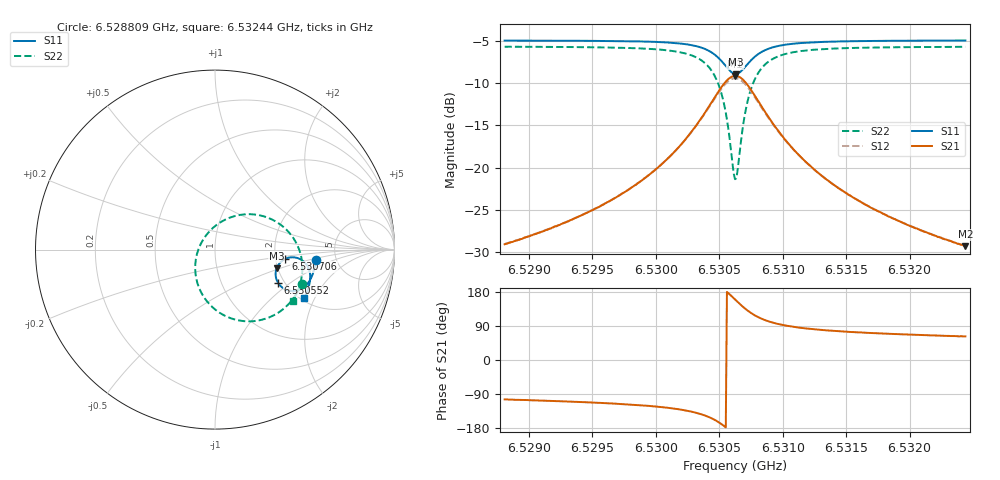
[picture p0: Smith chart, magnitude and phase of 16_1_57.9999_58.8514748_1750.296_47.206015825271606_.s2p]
#  HZ  S  RI  R  50.00
! Rohde & Schwarz Vector Network Analyzer
! Rohde-Schwarz,ZNB20-2Port,1311601062101988,3.16
! Created: UTC 3/21/2024, 12:50:58 AM
! freq[Hz]  re:S11  im:S11  re:S21  im:S21  re:S12  im:S12  re:S22  im:S22
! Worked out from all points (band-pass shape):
!   401 points, 6.528809 GHz to 6.53244 GHz, reference 50 ohm
!   highest |S21| = -9.13 dB at 6.530624 GHz (marker M1); lowest = -29.3 dB at 6.53244 GHz (marker M2)
!   |S21| within 3 dB of the highest: 6.530445 GHz to 6.530808 GHz (363.1 kHz wide, 0.00556 % of centre)
!   lowest |S11| = -8.9 dB at 6.530633 GHz (marker M3), VSWR 2.12, Z = 98.5 - j23.7 ohm
!   |S11| at or under -10 dB: nowhere
!   |S22| runs from -21.3 to -5.7 dB; largest |S21 - S12| = 0.015
!   S11 on the Smith chart (normalised r, x): 6.528809 GHz: 3.48, -0.60; 6.530552 GHz: 1.85, -0.82; 6.530706 GHz: 2.27, -0.28; 6.53244 GHz: 2.10, -1.65
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6.5288088e9  0.5611 -0.0586  -0.00858 -0.0342  -0.00924 -0.0341  0.4823 -0.1918
6.529417e9  0.5516 -0.1116  -0.0188 -0.049  -0.02 -0.0486  0.4496 -0.2537
6.5297619e9  0.5405 -0.1463  -0.0326 -0.0646  -0.0344 -0.0639  0.4138 -0.2997
6.5300252e9  0.524 -0.1782  -0.0562 -0.0845  -0.0587 -0.083  0.3611 -0.3456
6.530243e9  0.4938 -0.2105  -0.1036 -0.1087  -0.1069 -0.1046  0.2655 -0.3898
6.5303973e9  0.4438 -0.2303  -0.1838 -0.116  -0.1864 -0.1077  0.1186 -0.3917
6.5304881e9  0.3918 -0.2216  -0.2653 -0.0829  -0.2635 -0.071  -0.0161 -0.3189
6.5305244e9  0.3683 -0.2058  -0.3007 -0.0485  -0.2955 -0.0361  -0.0687 -0.2534
6.5305517e9  0.3526 -0.1872  -0.3229 -0.0117  -0.3145 0.000139  -0.0979 -0.1873
6.5306061e9  0.3377 -0.134  -0.3365 0.0854  -0.3234 0.0921  -0.1005 -0.0246
6.5306243e9  0.3404 -0.1146  -0.3282 0.1199  -0.3143 0.124  -0.0801 0.0301
6.5306334e9  0.3432 -0.105  -0.3214 0.1364  -0.3077 0.1393  -0.0661 0.0556
6.5306515e9  0.3518 -0.0872  -0.3035 0.1666  -0.2902 0.1673  -0.0306 0.1019
6.530706e9  0.3927 -0.0511  -0.2267 0.2263  -0.2176 0.2225  0.1063 0.1859
6.5307423e9  0.4231 -0.0432  -0.1729 0.2389  -0.1667 0.2342  0.198 0.1972
6.5307786e9  0.4498 -0.0445  -0.1266 0.2364  -0.1227 0.2321  0.2753 0.1843
6.5308966e9  0.5024 -0.0742  -0.0378 0.1914  -0.0363 0.1895  0.4192 0.0876
6.5310237e9  0.523 -0.1082  -0.0022 0.1452  -0.00113 0.1444  0.4709 -0.00567
6.5312325e9  0.5306 -0.1489  0.0146 0.099  0.0158 0.0987  0.4871 -0.1016
6.5315048e9  0.5273 -0.1852  0.0187 0.068  0.0197 0.0677  0.4796 -0.1725
6.5318407e9  0.5184 -0.2193  0.0183 0.048  0.0191 0.0477  0.4629 -0.2259
6.5324398e9  0.4979 -0.268  0.0161 0.0304  0.0167 0.0302  0.432 -0.287
